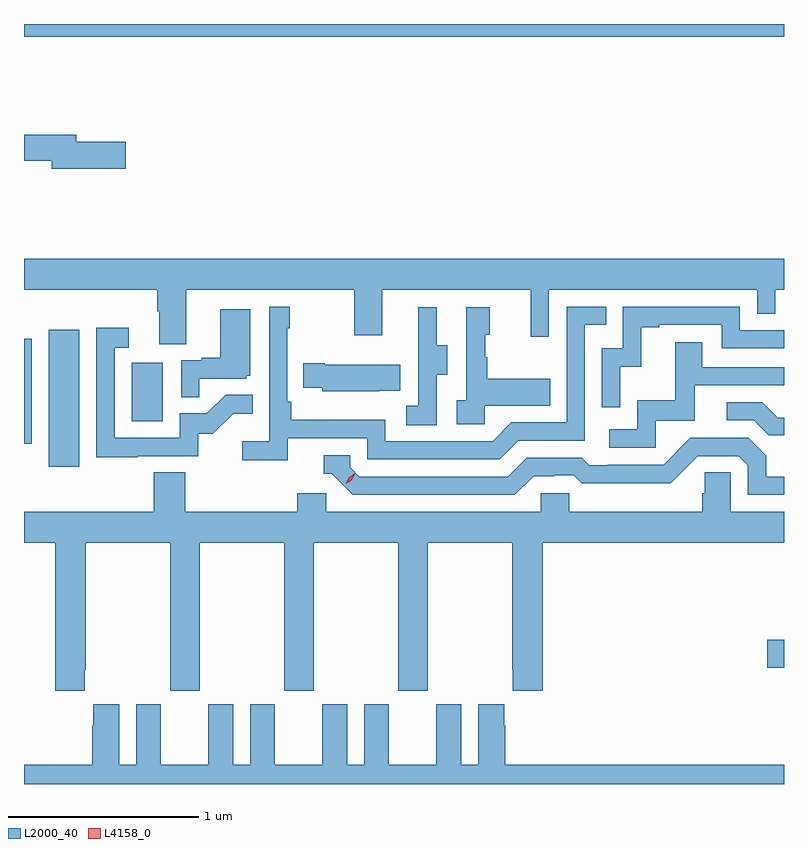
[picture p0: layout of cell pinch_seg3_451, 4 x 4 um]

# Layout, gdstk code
import gdstk
lib = gdstk.Library(unit=1e-6, precision=1e-09)
def R(c, l, rs):  # rectangles x0, y0, x1, y1
    for r in rs: c.add(gdstk.rectangle(r[:2], r[2:], *l))
def P(c, l, *ps):  # polygons
    for p in ps: c.add(gdstk.Polygon(p, *l))
L2000_40 = (2000, 40)
L4158_0 = (4158, 0)

pinch_seg3_451 = lib.new_cell('pinch_seg3_451')
R(pinch_seg3_451, L2000_40, [(900.822,670.955,900.91,671.102), (897.041,672.012,897.202,672.733), (896.91,672.135,896.952,672.686), (897.476,672.252,897.64,672.559), (896.91,674.276,900.91,674.343)])
P(pinch_seg3_451, L2000_40, [(897.445,673.724),(897.184,673.724),(897.184,673.76),(896.91,673.76),(896.91,673.624),(897.056,673.624),(897.056,673.582),(897.445,673.582)],
  [(897.763,672.944),(898.648,672.944),(898.648,672.705),(898.795,672.705),(898.795,672.944),(899.576,672.944),(899.576,672.696),(899.673,672.696),(899.673,672.944),(900.768,672.944),(900.768,672.817),(900.864,672.817),(900.864,672.944),(900.91,672.944),(900.91,673.108),(896.91,673.108),(896.91,672.944),(897.611,672.944),(897.611,672.832),(897.623,672.832),(897.623,672.658),(897.763,672.658)],
  [(898.298,672.162),(898.716,672.162),(898.716,672.051),(899.413,672.051),(899.512,672.15),(899.862,672.15),(899.862,672.759),(899.975,672.759),(899.975,672.855),(899.766,672.855),(899.766,672.246),(899.475,672.246),(899.376,672.147),(898.812,672.147),(898.812,672.259),(898.316,672.259),(898.316,672.355),(898.296,672.355),(898.296,672.743),(898.309,672.743),(898.309,672.856),(898.2,672.856),(898.2,672.148),(898.059,672.148),(898.059,672.046),(898.298,672.046)],
  [(900.048,672.539),(900.158,672.539),(900.158,672.747),(900.253,672.747),(900.253,672.759),(900.582,672.759),(900.582,672.636),(900.91,672.636),(900.91,672.732),(900.678,672.732),(900.678,672.855),(900.06,672.855),(900.06,672.636),(899.952,672.636),(899.952,672.327),(900.048,672.327)],
  [(899.334,672.335),(899.681,672.335),(899.681,672.475),(899.347,672.475),(899.347,672.59),(899.337,672.59),(899.337,672.708),(899.362,672.708),(899.362,672.853),(899.238,672.853),(899.238,672.362),(899.187,672.362),(899.187,672.237),(899.334,672.237)],
  [(899.082,672.496),(899.137,672.496),(899.137,672.651),(899.083,672.651),(899.083,672.853),(898.985,672.853),(898.985,672.639),(898.986,672.639),(898.986,672.335),(898.923,672.335),(898.923,672.232),(899.082,672.232)],
  [(897.833,672.477),(898.08,672.477),(898.08,672.492),(898.102,672.492),(898.102,672.841),(897.944,672.841),(897.944,672.586),(897.845,672.586),(897.845,672.573),(897.738,672.573),(897.738,672.379),(897.833,672.379)],
  [(897.509,672.069),(897.828,672.069),(897.828,672.186),(897.904,672.186),(898.011,672.293),(898.115,672.293),(898.115,672.392),(897.971,672.392),(897.873,672.294),(897.729,672.294),(897.729,672.165),(897.387,672.165),(897.387,672.639),(897.46,672.639),(897.46,672.745),(897.291,672.745),(897.291,672.064),(897.509,672.064)],
  [(900.234,672.255),(900.439,672.255),(900.439,672.441),(900.91,672.441),(900.91,672.537),(900.481,672.537),(900.481,672.667),(900.337,672.667),(900.337,672.364),(900.138,672.364),(900.138,672.21),(899.991,672.21),(899.991,672.114),(900.234,672.114)],
  [(898.781,672.413),(898.889,672.413),(898.889,672.55),(898.492,672.55),(898.492,672.558),(898.381,672.558),(898.381,672.428),(898.479,672.428),(898.479,672.41),(898.781,672.41)],
  [(900.91,672.27),(900.877,672.27),(900.796,672.351),(900.609,672.351),(900.609,672.258),(900.75,672.258),(900.83,672.178),(900.91,672.178)],
  [(899.593,671.964),(899.7,671.964),(899.7,671.967),(899.803,671.967),(899.845,671.925),(900.078,671.925),(900.078,671.927),(900.314,671.927),(900.456,672.069),(900.672,672.069),(900.72,672.021),(900.72,671.865),(900.91,671.865),(900.91,671.961),(900.817,671.961),(900.817,672.071),(900.723,672.165),(900.417,672.165),(900.276,672.024),(899.983,672.024),(899.983,672.021),(899.884,672.021),(899.845,672.06),(899.556,672.06),(899.457,671.961),(898.674,671.961),(898.626,672.009),(898.626,672.072),(898.487,672.072),(898.487,671.976),(898.53,671.976),(898.641,671.865),(899.494,671.865)],
  [(897.229,670.945),(897.234,670.945),(897.234,671.612),(897.679,671.612),(897.679,670.833),(897.834,670.833),(897.834,671.612),(898.279,671.612),(898.279,670.833),(898.434,670.833),(898.434,671.612),(898.879,671.612),(898.879,670.833),(899.034,670.833),(899.034,671.612),(899.479,671.612),(899.479,670.945),(899.483,670.945),(899.483,670.833),(899.639,670.833),(899.639,671.612),(900.91,671.612),(900.91,671.776),(900.63,671.776),(900.63,671.984),(900.493,671.984),(900.493,671.874),(900.479,671.874),(900.479,671.776),(899.781,671.776),(899.781,671.874),(899.631,671.874),(899.631,671.776),(898.5,671.776),(898.5,671.874),(898.349,671.874),(898.349,671.776),(897.758,671.776),(897.758,671.984),(897.593,671.984),(897.593,671.776),(896.91,671.776),(896.91,671.612),(897.074,671.612),(897.074,670.833),(897.229,670.833)],
  [(900.91,670.444),(899.444,670.444),(899.444,670.649),(899.437,670.649),(899.437,670.762),(899.3,670.762),(899.3,670.444),(899.212,670.444),(899.212,670.762),(899.081,670.762),(899.081,670.444),(898.831,670.444),(898.831,670.762),(898.7,670.762),(898.7,670.444),(898.612,670.444),(898.612,670.762),(898.481,670.762),(898.481,670.444),(898.231,670.444),(898.231,670.762),(898.1,670.762),(898.1,670.444),(898.012,670.444),(898.012,670.762),(897.881,670.762),(897.881,670.444),(897.631,670.444),(897.631,670.762),(897.5,670.762),(897.5,670.444),(897.412,670.444),(897.412,670.762),(897.275,670.762),(897.275,670.649),(897.269,670.649),(897.269,670.444),(896.91,670.444),(896.91,670.343),(900.91,670.343)])
P(pinch_seg3_451, L4158_0, [(898.603,671.923),(898.603,671.923),(898.619,671.956),(898.649,671.975),(898.65,671.975),(898.65,671.975),(898.634,671.942),(898.603,671.923)])

lib.write_gds('pinch_seg3_451.gds')
